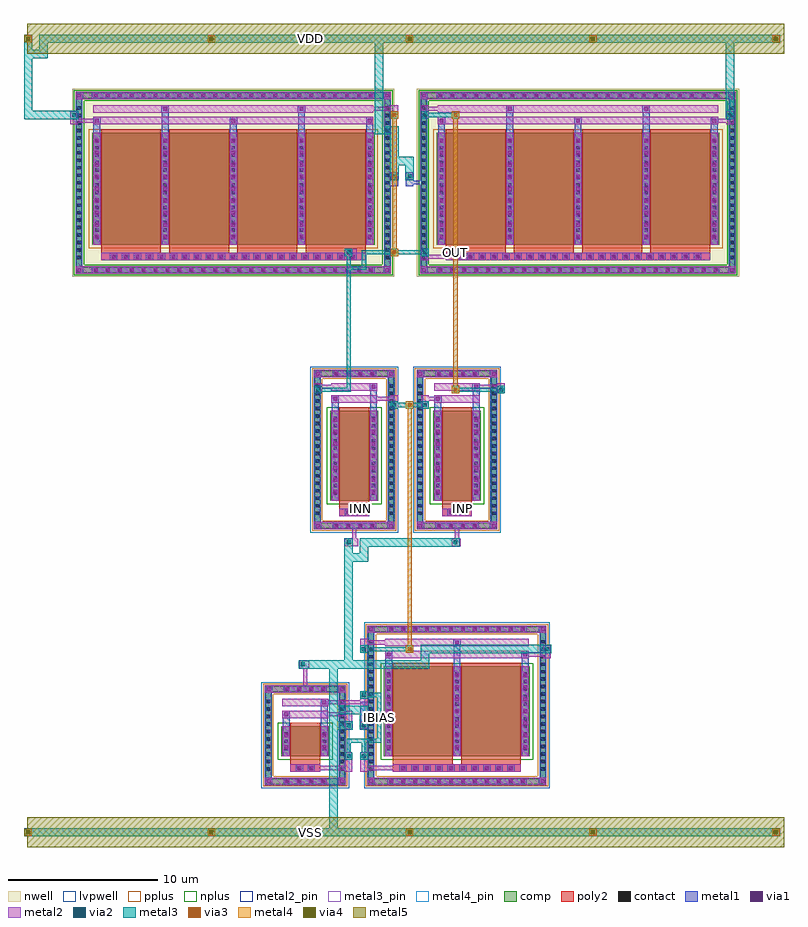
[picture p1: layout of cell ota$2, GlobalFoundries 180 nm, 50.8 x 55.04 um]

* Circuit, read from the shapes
.subckt ota$2 IBIAS INN INP OUT VDD VSS
XM1 IBIAS IBIAS VSS VSS nfet_03v3 w=2u l=2u
XM2 n1 INN n2 VSS nfet_03v3 w=6u l=2u
XM3 n2 IBIAS VSS VSS nfet_03v3 w=6u l=4u m=2
XM4 OUT INP n2 VSS nfet_03v3 w=6u l=2u
XM5 n1 n1 VDD VDD pfet_03v3 w=7.5u l=4u m=4
XM6 OUT n1 VDD VDD pfet_03v3 w=7.5u l=4u m=4
.ends

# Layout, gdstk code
import gdstk
lib = gdstk.Library(unit=1e-6, precision=1e-09)
def R(c, l, rs):  # rectangles x0, y0, x1, y1
    for r in rs: c.add(gdstk.rectangle(r[:2], r[2:], *l))
def A(c, l, x, y, w, h, nx, ny, dx, dy):  # array of equal rectangles
    R(c, l, [(x+i*dx, y+j*dy, x+i*dx+w, y+j*dy+h) for i in range(nx) for j in range(ny)])
def P(c, l, *ps):  # polygons
    for p in ps: c.add(gdstk.Polygon(p, *l))
nwell = (21, 0)
comp = (22, 0)
poly2 = (30, 0)
pplus = (31, 0)
nplus = (32, 0)
contact = (33, 0)
metal1 = (34, 0)
via1 = (35, 0)
metal2 = (36, 0)
metal2_pin = (36, 10)
via2 = (38, 0)
via3 = (40, 0)
via4 = (41, 0)
metal3 = (42, 0)
metal3_pin = (42, 10)
metal4 = (46, 0)
metal4_pin = (46, 10)
metal5 = (81, 0)
lvpwell = (204, 0)

ota_2 = lib.new_cell('ota$2')
R(ota_2, nwell, [(-22.29,34.18,-0.75,46.77), (0.75,34.18,22.29,46.77)])
A(ota_2, comp, -8.09, 0.28, 0.36, 0.36, 4, 2, 0.8, 6.17)
A(ota_2, comp, -1.15, 0.28, 0.36, 0.36, 12, 2, 0.8, 10.17)
A(ota_2, comp, -9.36, 1.115, 0.36, 0.36, 1, 10, 0, 0.5)
A(ota_2, comp, -4.42, 1.115, 0.36, 0.36, 1, 10, 0, 0.5)
A(ota_2, comp, -2.5, 1.115, 0.36, 0.36, 1, 18, 0, 0.5)
A(ota_2, comp, 9, 1.115, 0.36, 0.36, 1, 18, 0, 0.5)
A(ota_2, comp, -4.81, 17.37, 0.36, 0.36, 4, 2, 0.8, 10.17)
A(ota_2, comp, 2.05, 17.37, 0.36, 0.36, 4, 2, 0.8, 10.17)
A(ota_2, comp, -6.08, 18.205, 0.36, 0.36, 1, 18, 0, 0.5)
A(ota_2, comp, -1.14, 18.205, 0.36, 0.36, 1, 18, 0, 0.5)
A(ota_2, comp, 0.78, 18.205, 0.36, 0.36, 1, 18, 0, 0.5)
A(ota_2, comp, 5.72, 18.205, 0.36, 0.36, 1, 18, 0, 0.5)
A(ota_2, comp, -20.9, 34.46, 0.36, 0.36, 24, 2, 0.8, 11.67)
A(ota_2, comp, 2.14, 34.46, 0.36, 0.36, 24, 2, 0.8, 11.67)
A(ota_2, comp, -22.01, 35.295, 0.36, 0.36, 1, 21, 0, 0.5)
A(ota_2, comp, -1.39, 35.295, 0.36, 0.36, 1, 21, 0, 0.5)
A(ota_2, comp, 1.03, 35.295, 0.36, 0.36, 1, 21, 0, 0.5)
A(ota_2, comp, 21.65, 35.295, 0.36, 0.36, 1, 21, 0, 0.5)
R(ota_2, comp, [(-8.09,0.28,-5.33,0.64), (-1.15,0.28,8.01,0.64), (-9.36,1.115,-9,5.975), (-4.42,1.115,-4.06,5.975), (-2.5,1.115,-2.14,9.975), (9,1.115,9.36,9.975), (-8.31,2.14,-5.11,4.14), (-1.45,2.14,8.31,8.14), (-8.09,6.45,-5.33,6.81), (-1.15,10.45,8.01,10.81), (-4.81,17.37,-2.05,17.73), (2.05,17.37,4.81,17.73), (-6.08,18.205,-5.72,27.065), (-1.14,18.205,-0.78,27.065), (0.78,18.205,1.14,27.065), (5.72,18.205,6.08,27.065), (-5.03,19.23,-1.83,25.23), (1.83,19.23,5.03,25.23), (-4.81,27.54,-2.05,27.9), (2.05,27.54,4.81,27.9), (-20.9,34.46,-2.14,34.82), (2.14,34.46,20.9,34.82), (-22.01,35.295,-21.65,45.655), (-1.39,35.295,-1.03,45.655), (1.03,35.295,1.39,45.655), (21.65,35.295,22.01,45.655), (-20.96,36.32,-2.08,43.82), (2.08,36.32,20.96,43.82), (-20.9,46.13,-2.14,46.49), (2.14,46.13,20.9,46.49)])
P(ota_2, comp, [(-9.36,0.28),(-9.36,0.64),(-4.42,0.64),(-4.42,6.45),(-9,6.45),(-9,0.64),(-9.36,0.64),(-9.36,6.81),(-4.06,6.81),(-4.06,0.28)],
  [(1.03,34.46),(1.03,34.82),(21.65,34.82),(21.65,46.13),(1.39,46.13),(1.39,34.82),(1.03,34.82),(1.03,46.49),(22.01,46.49),(22.01,34.46)],
  [(-22.01,34.46),(-22.01,34.82),(-1.39,34.82),(-1.39,46.13),(-21.65,46.13),(-21.65,34.82),(-22.01,34.82),(-22.01,46.49),(-1.03,46.49),(-1.03,34.46)],
  [(0.78,17.37),(0.78,17.73),(5.72,17.73),(5.72,27.54),(1.14,27.54),(1.14,17.73),(0.78,17.73),(0.78,27.9),(6.08,27.9),(6.08,17.37)],
  [(-6.08,17.37),(-6.08,17.73),(-1.14,17.73),(-1.14,27.54),(-5.72,27.54),(-5.72,17.73),(-6.08,17.73),(-6.08,27.9),(-0.78,27.9),(-0.78,17.37)],
  [(-2.5,0.28),(-2.5,0.64),(9,0.64),(9,10.45),(-2.14,10.45),(-2.14,0.64),(-2.5,0.64),(-2.5,10.81),(9.36,10.81),(9.36,0.28)])
A(ota_2, poly2, -0.35, 1.17, 0.36, 0.36, 10, 1, 0.8, 0)
A(ota_2, poly2, -19.7, 35.35, 0.36, 0.36, 21, 1, 0.8, 0)
A(ota_2, poly2, 3.34, 35.35, 0.36, 0.36, 21, 1, 0.8, 0)
A(ota_2, poly2, -20.36, 35.78, 4, 0.3, 4, 1, 4.56, 0)
A(ota_2, poly2, 2.68, 35.78, 4, 0.3, 4, 1, 4.56, 0)
A(ota_2, poly2, -20.36, 36.08, 4, 7.98, 4, 1, 4.56, 0)
A(ota_2, poly2, 2.68, 36.08, 4, 7.98, 4, 1, 4.56, 0)
R(ota_2, poly2, [(-7.71,1.1,-5.71,1.6), (-0.85,1.1,7.71,1.6), (-7.29,1.17,-6.93,1.53), (-6.49,1.17,-6.13,1.53), (-7.71,1.6,-5.71,1.9), (-0.85,1.6,3.15,1.9), (3.71,1.6,7.71,1.9), (-7.71,1.9,-5.71,4.38), (-0.85,1.9,3.15,8.38), (3.71,1.9,7.71,8.38), (-4.43,18.19,-2.43,18.69), (2.43,18.19,4.43,18.69), (-4.01,18.26,-3.65,18.62), (-3.21,18.26,-2.85,18.62), (2.85,18.26,3.21,18.62), (3.65,18.26,4.01,18.62), (-4.43,18.69,-2.43,18.99), (2.43,18.69,4.43,18.99), (-4.43,18.99,-2.43,25.47), (2.43,18.99,4.43,25.47), (-20.36,35.28,-2.68,35.78), (2.68,35.28,20.36,35.78)])
R(ota_2, pplus, [(-21.19,36.09,-1.85,44.05), (1.85,36.09,21.19,44.05)])
P(ota_2, pplus, [(-9.52,0.12),(-9.52,0.8),(-4.58,0.8),(-4.58,6.29),(-8.84,6.29),(-8.84,0.8),(-9.52,0.8),(-9.52,6.97),(-3.9,6.97),(-3.9,0.12)],
  [(0.62,17.21),(0.62,17.89),(5.56,17.89),(5.56,27.38),(1.3,27.38),(1.3,17.89),(0.62,17.89),(0.62,28.06),(6.24,28.06),(6.24,17.21)],
  [(-6.24,17.21),(-6.24,17.89),(-1.3,17.89),(-1.3,27.38),(-5.56,27.38),(-5.56,17.89),(-6.24,17.89),(-6.24,28.06),(-0.62,28.06),(-0.62,17.21)],
  [(-2.66,0.12),(-2.66,0.8),(8.84,0.8),(8.84,10.29),(-1.98,10.29),(-1.98,0.8),(-2.66,0.8),(-2.66,10.97),(9.52,10.97),(9.52,0.12)])
R(ota_2, nplus, [(-8.54,1.91,-4.88,4.37), (-1.68,1.91,8.54,8.37), (-5.26,19,-1.6,25.46), (1.6,19,5.26,25.46)])
P(ota_2, nplus, [(0.87,34.3),(0.87,34.98),(21.49,34.98),(21.49,45.97),(1.55,45.97),(1.55,34.98),(0.87,34.98),(0.87,46.65),(22.17,46.65),(22.17,34.3)],
  [(-22.17,34.3),(-22.17,34.98),(-1.55,34.98),(-1.55,45.97),(-21.49,45.97),(-21.49,34.98),(-22.17,34.98),(-22.17,46.65),(-0.87,46.65),(-0.87,34.3)])
A(ota_2, contact, -8.02, 0.35, 0.22, 0.22, 4, 2, 0.8, 6.17)
A(ota_2, contact, -1.08, 0.35, 0.22, 0.22, 12, 2, 0.8, 10.17)
A(ota_2, contact, -9.29, 1.185, 0.22, 0.22, 1, 10, 0, 0.5)
A(ota_2, contact, -4.35, 1.185, 0.22, 0.22, 1, 10, 0, 0.5)
A(ota_2, contact, -2.43, 1.185, 0.22, 0.22, 1, 18, 0, 0.5)
A(ota_2, contact, 9.07, 1.185, 0.22, 0.22, 1, 18, 0, 0.5)
A(ota_2, contact, -0.28, 1.24, 0.22, 0.22, 10, 1, 0.8, 0)
A(ota_2, contact, -8.1, 2.53, 0.22, 0.22, 1, 3, 0, 0.5)
A(ota_2, contact, -5.54, 2.53, 0.22, 0.22, 1, 3, 0, 0.5)
A(ota_2, contact, -1.24, 2.53, 0.22, 0.22, 3, 11, 4.56, 0.5)
A(ota_2, contact, -4.74, 17.44, 0.22, 0.22, 4, 2, 0.8, 10.17)
A(ota_2, contact, 2.12, 17.44, 0.22, 0.22, 4, 2, 0.8, 10.17)
A(ota_2, contact, -6.01, 18.275, 0.22, 0.22, 1, 18, 0, 0.5)
A(ota_2, contact, -1.07, 18.275, 0.22, 0.22, 1, 18, 0, 0.5)
A(ota_2, contact, 0.85, 18.275, 0.22, 0.22, 1, 18, 0, 0.5)
A(ota_2, contact, 5.79, 18.275, 0.22, 0.22, 1, 18, 0, 0.5)
A(ota_2, contact, -4.82, 19.62, 0.22, 0.22, 1, 11, 0, 0.5)
A(ota_2, contact, -2.26, 19.62, 0.22, 0.22, 1, 11, 0, 0.5)
A(ota_2, contact, 2.04, 19.62, 0.22, 0.22, 1, 11, 0, 0.5)
A(ota_2, contact, 4.6, 19.62, 0.22, 0.22, 1, 11, 0, 0.5)
A(ota_2, contact, -20.83, 34.53, 0.22, 0.22, 24, 2, 0.8, 11.67)
A(ota_2, contact, 2.21, 34.53, 0.22, 0.22, 24, 2, 0.8, 11.67)
A(ota_2, contact, -21.94, 35.365, 0.22, 0.22, 1, 21, 0, 0.5)
A(ota_2, contact, -1.32, 35.365, 0.22, 0.22, 1, 21, 0, 0.5)
A(ota_2, contact, 1.1, 35.365, 0.22, 0.22, 1, 21, 0, 0.5)
A(ota_2, contact, 21.72, 35.365, 0.22, 0.22, 1, 21, 0, 0.5)
A(ota_2, contact, -19.63, 35.42, 0.22, 0.22, 21, 1, 0.8, 0)
A(ota_2, contact, 3.41, 35.42, 0.22, 0.22, 21, 1, 0.8, 0)
A(ota_2, contact, -20.75, 36.71, 0.22, 0.22, 5, 14, 4.56, 0.5)
A(ota_2, contact, 2.29, 36.71, 0.22, 0.22, 5, 14, 4.56, 0.5)
R(ota_2, contact, [(-7.22,1.24,-7,1.46), (-6.42,1.24,-6.2,1.46), (-3.94,18.33,-3.72,18.55), (-3.14,18.33,-2.92,18.55), (2.92,18.33,3.14,18.55), (3.72,18.33,3.94,18.55)])
A(ota_2, metal1, -8.16, 0.21, 0.5, 0.5, 4, 2, 0.8, 6.17)
A(ota_2, metal1, -1.22, 0.21, 0.5, 0.5, 12, 2, 0.8, 10.17)
A(ota_2, metal1, -9.41, 1.065, 0.46, 0.46, 1, 10, 0, 0.5)
A(ota_2, metal1, -4.47, 1.065, 0.46, 0.46, 1, 10, 0, 0.5)
A(ota_2, metal1, -2.55, 1.065, 0.46, 0.46, 1, 18, 0, 0.5)
A(ota_2, metal1, 8.95, 1.065, 0.46, 0.46, 1, 18, 0, 0.5)
A(ota_2, metal1, -0.42, 1.1, 0.5, 0.5, 10, 1, 0.8, 0)
A(ota_2, metal1, -1.36, 2.14, 0.46, 6, 3, 1, 4.56, 0)
A(ota_2, metal1, -8.22, 2.41, 0.46, 0.46, 1, 3, 0, 0.5)
A(ota_2, metal1, -5.66, 2.41, 0.46, 0.46, 1, 3, 0, 0.5)
A(ota_2, metal1, -1.36, 2.41, 0.46, 0.46, 3, 11, 4.56, 0.5)
A(ota_2, metal1, -1.38, 2.49, 0.5, 5.3, 3, 1, 4.56, 0)
A(ota_2, metal1, -1.38, 2.49, 0.5, 0.5, 3, 7, 4.56, 0.8)
A(ota_2, metal1, -4.88, 17.3, 0.5, 0.5, 4, 2, 0.8, 10.17)
A(ota_2, metal1, 1.98, 17.3, 0.5, 0.5, 4, 2, 0.8, 10.17)
A(ota_2, metal1, -6.13, 18.155, 0.46, 0.46, 1, 18, 0, 0.5)
A(ota_2, metal1, -1.19, 18.155, 0.46, 0.46, 1, 18, 0, 0.5)
A(ota_2, metal1, 0.73, 18.155, 0.46, 0.46, 1, 18, 0, 0.5)
A(ota_2, metal1, 5.67, 18.155, 0.46, 0.46, 1, 18, 0, 0.5)
A(ota_2, metal1, -4.94, 19.5, 0.46, 0.46, 1, 11, 0, 0.5)
A(ota_2, metal1, -2.38, 19.5, 0.46, 0.46, 1, 11, 0, 0.5)
A(ota_2, metal1, 1.92, 19.5, 0.46, 0.46, 1, 11, 0, 0.5)
A(ota_2, metal1, 4.48, 19.5, 0.46, 0.46, 1, 11, 0, 0.5)
A(ota_2, metal1, -4.96, 19.58, 0.5, 0.5, 1, 7, 0, 0.8)
A(ota_2, metal1, -2.4, 19.58, 0.5, 0.5, 1, 7, 0, 0.8)
A(ota_2, metal1, 1.9, 19.58, 0.5, 0.5, 1, 7, 0, 0.8)
A(ota_2, metal1, 4.46, 19.58, 0.5, 0.5, 1, 7, 0, 0.8)
A(ota_2, metal1, -20.97, 34.39, 0.5, 0.5, 24, 2, 0.8, 11.67)
A(ota_2, metal1, 2.07, 34.39, 0.5, 0.5, 24, 2, 0.8, 11.67)
A(ota_2, metal1, -22.06, 35.245, 0.46, 0.46, 1, 21, 0, 0.5)
A(ota_2, metal1, -1.44, 35.245, 0.46, 0.46, 1, 21, 0, 0.5)
A(ota_2, metal1, 0.98, 35.245, 0.46, 0.46, 1, 21, 0, 0.5)
A(ota_2, metal1, 21.6, 35.245, 0.46, 0.46, 1, 21, 0, 0.5)
A(ota_2, metal1, -19.77, 35.28, 0.5, 0.5, 21, 1, 0.8, 0)
A(ota_2, metal1, 3.27, 35.28, 0.5, 0.5, 21, 1, 0.8, 0)
A(ota_2, metal1, -20.87, 36.32, 0.46, 7.5, 5, 1, 4.56, 0)
A(ota_2, metal1, 2.17, 36.32, 0.46, 7.5, 5, 1, 4.56, 0)
A(ota_2, metal1, -20.87, 36.59, 0.46, 0.46, 5, 14, 4.56, 0.5)
A(ota_2, metal1, 2.17, 36.59, 0.46, 0.46, 5, 14, 4.56, 0.5)
A(ota_2, metal1, -20.89, 36.62, 0.5, 0.5, 5, 9, 4.56, 0.8)
A(ota_2, metal1, -20.89, 36.62, 0.5, 6.9, 5, 1, 4.56, 0)
A(ota_2, metal1, 2.15, 36.62, 0.5, 0.5, 5, 9, 4.56, 0.8)
A(ota_2, metal1, 2.15, 36.62, 0.5, 6.9, 5, 1, 4.56, 0)
A(ota_2, metal1, -20.87, 43.82, 0.46, 1.05, 3, 1, 9.12, 0)
A(ota_2, metal1, 2.17, 43.82, 0.46, 1.05, 3, 1, 9.12, 0)
A(ota_2, metal1, -20.89, 44.37, 0.5, 0.5, 3, 1, 9.12, 0)
A(ota_2, metal1, 2.15, 44.37, 0.5, 0.5, 3, 1, 9.12, 0)
R(ota_2, metal1, [(-9.41,0.21,-8.91,0.71), (-9.41,0.21,-8.91,0.71), (-9.41,0.21,-8.95,0.64), (-8.16,0.21,-5.26,0.71), (-4.51,0.21,-4.01,0.71), (-4.51,0.21,-4.01,0.71), (-4.47,0.21,-4.01,0.64), (-2.55,0.21,-2.05,0.71), (-2.55,0.21,-2.05,0.71), (-2.55,0.21,-2.09,0.64), (-1.22,0.21,8.08,0.71), (8.91,0.21,9.41,0.71), (8.91,0.21,9.41,0.71), (8.95,0.21,9.41,0.64), (-9.41,0.64,-8.95,6.45), (-4.47,0.64,-4.01,6.45), (-2.55,0.64,-2.09,10.45), (8.95,0.64,9.41,10.45), (-7.36,1.1,-6.86,1.6), (-6.56,1.1,-6.06,1.6), (-8.22,2.14,-7.76,4.14), (-5.66,2.14,-5.2,4.14), (-8.24,2.49,-7.74,2.99), (-8.24,2.49,-7.74,3.79), (-5.68,2.49,-5.18,2.99), (-5.68,2.49,-5.18,3.79), (-8.24,3.29,-7.74,3.79), (-5.68,3.29,-5.18,3.79), (-3.04,3.95,-2.54,4.45), (-3.04,3.95,-2.54,5.79), (-8.22,4.14,-7.76,5.19), (-5.66,4.14,-5.2,5.99), (-8.24,4.69,-7.74,5.19), (-2.905,5.425,-2.435,5.655), (-5.68,5.49,-5.18,5.99), (-2.55,5.79,-2.54,6.065), (-9.41,6.38,-8.91,6.88), (-9.41,6.38,-8.91,6.88), (-8.16,6.38,-5.26,6.88), (-4.51,6.38,-4.01,6.88), (-4.51,6.38,-4.01,6.88), (-9.41,6.45,-8.95,6.88), (-4.47,6.45,-4.01,6.88), (-1.36,8.14,-0.9,9.19), (3.2,8.14,3.66,9.99), (7.76,8.14,8.22,9.19), (-1.38,8.69,-0.88,9.19), (7.74,8.69,8.24,9.19), (3.18,9.49,3.68,9.99), (-2.55,10.38,-2.05,10.88), (-2.55,10.38,-2.05,10.88), (-1.22,10.38,8.08,10.88), (8.91,10.38,9.41,10.88), (8.91,10.38,9.41,10.88), (-2.55,10.45,-2.09,10.88), (8.95,10.45,9.41,10.88), (-6.13,17.3,-5.63,17.8), (-6.13,17.3,-5.63,17.8), (-6.13,17.3,-5.67,17.73), (-4.88,17.3,-1.98,17.8), (-1.23,17.3,-0.73,17.8), (-1.23,17.3,-0.73,17.8), (-1.19,17.3,-0.73,17.73), (0.73,17.3,1.23,17.8), (0.73,17.3,1.23,17.8), (0.73,17.3,1.19,17.73), (1.98,17.3,4.88,17.8), (5.63,17.3,6.13,17.8), (5.63,17.3,6.13,17.8), (5.67,17.3,6.13,17.73), (-6.13,17.73,-5.67,27.54), (-1.19,17.73,-0.73,27.54), (0.73,17.73,1.19,27.54), (5.67,17.73,6.13,27.54), (-4.08,18.19,-3.58,18.69), (-3.28,18.19,-2.78,18.69), (2.78,18.19,3.28,18.69), (3.58,18.19,4.08,18.69), (-4.94,19.23,-4.48,25.23), (-2.38,19.23,-1.92,25.23), (1.92,19.23,2.38,25.23), (4.48,19.23,4.94,25.23), (-4.96,19.58,-4.46,24.88), (-2.4,19.58,-1.9,24.88), (1.9,19.58,2.4,24.88), (4.46,19.58,4.96,24.88), (-4.94,25.23,-4.48,26.28), (-2.38,25.23,-1.92,27.08), (1.92,25.23,2.38,26.28), (4.48,25.23,4.94,27.08), (-4.96,25.78,-4.46,26.28), (1.9,25.78,2.4,26.28), (-2.4,26.58,-1.9,27.08), (4.46,26.58,4.96,27.08), (-6.13,27.47,-5.63,27.97), (-6.13,27.47,-5.63,27.97), (-4.88,27.47,-1.98,27.97), (-1.23,27.47,-0.73,27.97), (-1.23,27.47,-0.73,27.97), (0.73,27.47,1.23,27.97), (0.73,27.47,1.23,27.97), (1.98,27.47,4.88,27.97), (5.63,27.47,6.13,27.97), (5.63,27.47,6.13,27.97), (-6.13,27.54,-5.67,27.97), (-1.19,27.54,-0.73,27.97), (0.73,27.54,1.19,27.97), (5.67,27.54,6.13,27.97), (-22.06,34.39,-21.56,34.89), (-22.06,34.39,-21.56,34.89), (-22.06,34.39,-21.6,34.82), (-20.97,34.39,-2.07,34.89), (-1.48,34.39,-0.98,34.89), (-1.48,34.39,-0.98,34.89), (-1.44,34.39,-0.98,34.82), (0.98,34.39,1.48,34.89), (0.98,34.39,1.48,34.89), (0.98,34.39,1.44,34.82), (2.07,34.39,20.97,34.89), (21.56,34.39,22.06,34.89), (21.56,34.39,22.06,34.89), (21.6,34.39,22.06,34.82), (-22.06,34.82,-21.6,46.13), (-1.44,34.82,-0.98,46.13), (0.98,34.82,1.44,46.13), (21.6,34.82,22.06,46.13), (-1.095,40.205,-0.98,40.365), (-1,40.205,-0.98,40.23), (0.98,40.205,1.095,40.365), (-1,40.23,-0.5,41.17), (0.02,40.23,0.52,41.17), (-1.095,40.365,-0.635,40.595), (0.155,40.365,1.095,40.595), (-1.095,40.595,-0.98,40.745), (0.98,40.595,1.095,40.745), (-1,40.67,-0.5,41.17), (0.02,40.67,0.52,41.17), (-1,41.17,-0.98,41.245), (-16.31,43.82,-15.85,45.67), (-7.19,43.82,-6.73,45.67), (6.73,43.82,7.19,45.67), (15.85,43.82,16.31,45.67), (-16.33,45.17,-15.83,45.67), (-7.21,45.17,-6.71,45.67), (6.71,45.17,7.21,45.67), (15.83,45.17,16.33,45.67), (-22.06,46.06,-21.56,46.56), (-22.06,46.06,-21.56,46.56), (-20.97,46.06,-2.07,46.56), (-1.48,46.06,-0.98,46.56), (-1.48,46.06,-0.98,46.56), (0.98,46.06,1.48,46.56), (0.98,46.06,1.48,46.56), (2.07,46.06,20.97,46.56), (21.56,46.06,22.06,46.56), (21.56,46.06,22.06,46.56), (-22.06,46.13,-21.6,46.56), (-1.44,46.13,-0.98,46.56), (0.98,46.13,1.44,46.56), (21.6,46.13,22.06,46.56)])
A(ota_2, via1, -8.04, 0.33, 0.26, 0.26, 4, 2, 0.8, 6.17)
A(ota_2, via1, -1.1, 0.33, 0.26, 0.26, 12, 2, 0.8, 10.17)
A(ota_2, via1, -0.3, 1.22, 0.26, 0.26, 10, 1, 0.8, 0)
A(ota_2, via1, -1.26, 2.61, 0.26, 0.26, 3, 7, 4.56, 0.8)
A(ota_2, via1, -4.76, 17.42, 0.26, 0.26, 4, 2, 0.8, 10.17)
A(ota_2, via1, 2.1, 17.42, 0.26, 0.26, 4, 2, 0.8, 10.17)
A(ota_2, via1, -4.84, 19.7, 0.26, 0.26, 1, 7, 0, 0.8)
A(ota_2, via1, -2.28, 19.7, 0.26, 0.26, 1, 7, 0, 0.8)
A(ota_2, via1, 2.02, 19.7, 0.26, 0.26, 1, 7, 0, 0.8)
A(ota_2, via1, 4.58, 19.7, 0.26, 0.26, 1, 7, 0, 0.8)
A(ota_2, via1, -20.85, 34.51, 0.26, 0.26, 24, 2, 0.8, 11.67)
A(ota_2, via1, 2.19, 34.51, 0.26, 0.26, 24, 2, 0.8, 11.67)
A(ota_2, via1, -19.65, 35.4, 0.26, 0.26, 21, 1, 0.8, 0)
A(ota_2, via1, 3.39, 35.4, 0.26, 0.26, 21, 1, 0.8, 0)
A(ota_2, via1, -20.77, 36.74, 0.26, 0.26, 5, 9, 4.56, 0.8)
A(ota_2, via1, 2.27, 36.74, 0.26, 0.26, 5, 9, 4.56, 0.8)
A(ota_2, via1, -20.77, 44.49, 0.26, 0.26, 3, 1, 9.12, 0)
A(ota_2, via1, 2.27, 44.49, 0.26, 0.26, 3, 1, 9.12, 0)
R(ota_2, via1, [(-9.29,0.33,-9.03,0.59), (-4.39,0.33,-4.13,0.59), (-2.43,0.33,-2.17,0.59), (9.03,0.33,9.29,0.59), (-7.24,1.22,-6.98,1.48), (-6.44,1.22,-6.18,1.48), (-8.12,2.61,-7.86,2.87), (-5.56,2.61,-5.3,2.87), (-8.12,3.41,-7.86,3.67), (-5.56,3.41,-5.3,3.67), (-2.92,4.07,-2.66,4.33), (-8.12,4.81,-7.86,5.07), (-5.56,5.61,-5.3,5.87), (-9.29,6.5,-9.03,6.76), (-4.39,6.5,-4.13,6.76), (-1.26,8.81,-1,9.07), (7.86,8.81,8.12,9.07), (3.3,9.61,3.56,9.87), (-2.43,10.5,-2.17,10.76), (9.03,10.5,9.29,10.76), (-6.01,17.42,-5.75,17.68), (-1.11,17.42,-0.85,17.68), (0.85,17.42,1.11,17.68), (5.75,17.42,6.01,17.68), (-3.96,18.31,-3.7,18.57), (-3.16,18.31,-2.9,18.57), (2.9,18.31,3.16,18.57), (3.7,18.31,3.96,18.57), (-4.84,25.9,-4.58,26.16), (2.02,25.9,2.28,26.16), (-2.28,26.7,-2.02,26.96), (4.58,26.7,4.84,26.96), (-6.01,27.59,-5.75,27.85), (-1.11,27.59,-0.85,27.85), (0.85,27.59,1.11,27.85), (5.75,27.59,6.01,27.85), (-21.94,34.51,-21.68,34.77), (-1.36,34.51,-1.1,34.77), (1.1,34.51,1.36,34.77), (21.68,34.51,21.94,34.77), (-0.88,40.79,-0.62,41.05), (0.14,40.79,0.4,41.05), (-16.21,45.29,-15.95,45.55), (-7.09,45.29,-6.83,45.55), (6.83,45.29,7.09,45.55), (15.95,45.29,16.21,45.55), (-21.94,46.18,-21.68,46.44), (-1.36,46.18,-1.1,46.44), (1.1,46.18,1.36,46.44), (21.68,46.18,21.94,46.44)])
A(ota_2, metal2, -8.16, 0.21, 0.5, 0.5, 4, 2, 0.8, 6.17)
A(ota_2, metal2, -1.22, 0.21, 0.5, 0.5, 12, 2, 0.8, 10.17)
A(ota_2, metal2, -0.42, 1.1, 0.5, 0.5, 10, 1, 0.8, 0)
A(ota_2, metal2, -3.04, 1.91, 0.5, 0.5, 1, 3, 0, 2.04)
A(ota_2, metal2, -1.38, 2.14, 0.5, 6, 3, 1, 4.56, 0)
A(ota_2, metal2, -1.38, 2.49, 0.5, 0.5, 3, 7, 4.56, 0.8)
A(ota_2, metal2, -4.88, 17.3, 0.5, 0.5, 4, 2, 0.8, 10.17)
A(ota_2, metal2, 1.98, 17.3, 0.5, 0.5, 4, 2, 0.8, 10.17)
A(ota_2, metal2, -4.96, 19.58, 0.5, 0.5, 1, 7, 0, 0.8)
A(ota_2, metal2, -2.4, 19.58, 0.5, 0.5, 1, 7, 0, 0.8)
A(ota_2, metal2, 1.9, 19.58, 0.5, 0.5, 1, 7, 0, 0.8)
A(ota_2, metal2, 4.46, 19.58, 0.5, 0.5, 1, 7, 0, 0.8)
A(ota_2, metal2, -20.97, 34.39, 0.5, 0.5, 24, 2, 0.8, 11.67)
A(ota_2, metal2, 2.07, 34.39, 0.5, 0.5, 24, 2, 0.8, 11.67)
A(ota_2, metal2, -19.77, 35.28, 0.5, 0.5, 21, 1, 0.8, 0)
A(ota_2, metal2, 3.27, 35.28, 0.5, 0.5, 21, 1, 0.8, 0)
A(ota_2, metal2, -20.89, 36.32, 0.5, 7.5, 5, 1, 4.56, 0)
A(ota_2, metal2, 2.15, 36.32, 0.5, 7.5, 5, 1, 4.56, 0)
A(ota_2, metal2, -20.89, 36.62, 0.5, 0.5, 5, 9, 4.56, 0.8)
A(ota_2, metal2, 2.15, 36.62, 0.5, 0.5, 5, 9, 4.56, 0.8)
A(ota_2, metal2, -20.89, 44.37, 0.5, 0.5, 3, 1, 9.12, 0)
A(ota_2, metal2, 2.15, 44.37, 0.5, 0.5, 3, 1, 9.12, 0)
R(ota_2, metal2, [(-9.41,0.21,-8.91,0.71), (-9.41,0.21,-8.91,0.71), (-9.41,0.21,-9,0.71), (-9,0.21,-4.42,0.71), (-4.51,0.21,-4.01,0.71), (-4.51,0.21,-4.01,0.71), (-4.42,0.21,-4.01,0.71), (-2.55,0.21,-2.05,0.71), (-2.55,0.21,-2.05,0.71), (-2.55,0.21,-2.14,0.71), (-2.14,0.21,9,0.71), (8.91,0.21,9.41,0.71), (8.91,0.21,9.41,0.71), (9,0.21,9.41,0.71), (-7.71,1.1,-5.71,1.6), (-7.36,1.1,-6.86,1.6), (-6.56,1.1,-6.06,1.6), (-4.06,1.1,-3.56,2.41), (-3.04,1.1,-2.54,2.41), (-0.85,1.1,7.71,1.6), (-6.06,1.21,-5.85,1.49), (-5.85,1.21,-3.67,1.49), (-2.93,1.21,-0.71,1.49), (-0.71,1.21,-0.42,1.49), (-4.06,1.91,-3.56,2.41), (-8.24,2.14,-7.74,4.14), (-5.68,2.14,-5.18,4.14), (-8.24,2.49,-7.74,2.99), (-5.68,2.49,-5.18,2.99), (-8.24,3.29,-7.74,3.79), (-5.68,3.29,-5.18,3.79), (-4.06,3.95,-3.56,4.45), (-4.06,3.95,-3.56,5.19), (-8.24,4.69,-7.74,5.19), (-8.24,4.69,-5.18,5.19), (-5.32,4.8,-3.67,5.08), (-8.24,5.49,-5.18,5.99), (-5.68,5.49,-5.18,5.99), (-3.04,5.49,-2.54,6.49), (-5.32,5.6,-2.65,5.88), (-9.41,6.38,-8.91,6.88), (-9.41,6.38,-8.91,6.88), (-9.41,6.38,-9,6.88), (-9,6.38,-4.42,6.88), (-4.51,6.38,-4.01,6.88), (-4.51,6.38,-4.01,6.88), (-4.42,6.38,-4.01,6.88), (-6.86,6.74,-6.85,6.88), (-6.85,6.74,-6.57,8.42), (-6.57,6.74,-6.56,6.88), (-7.12,8.03,-6.62,8.53), (-7.12,8.03,-6.46,8.53), (-1.38,8.69,8.24,9.19), (-1.38,8.69,-0.88,9.19), (7.74,8.69,8.24,9.19), (9.2,8.69,9.7,9.55), (8.1,8.8,9.59,9.08), (-3.04,9.05,-2.54,9.55), (-3.04,9.05,-2.54,9.99), (9.2,9.05,9.7,9.55), (-1.38,9.49,8.24,9.99), (3.18,9.49,3.68,9.99), (-2.93,9.6,-1.24,9.88), (-2.55,10.38,-2.05,10.88), (-2.55,10.38,-2.05,10.88), (-2.55,10.38,-2.14,10.88), (-2.14,10.38,9,10.88), (8.91,10.38,9.41,10.88), (8.91,10.38,9.41,10.88), (9,10.38,9.41,10.88), (-4.06,16.19,-3.56,16.69), (-4.06,16.19,-3.18,16.69), (3.08,16.19,3.58,16.69), (3.08,16.19,3.68,16.69), (-3.57,16.3,-3.29,17.44), (3.29,16.3,3.57,17.44), (-6.13,17.3,-5.63,17.8), (-6.13,17.3,-5.63,17.8), (-6.13,17.3,-5.72,17.8), (-5.72,17.3,-1.14,17.8), (-3.58,17.3,-3.57,17.44), (-3.29,17.3,-3.28,17.44), (-1.23,17.3,-0.73,17.8), (-1.23,17.3,-0.73,17.8), (-1.14,17.3,-0.73,17.8), (0.73,17.3,1.23,17.8), (0.73,17.3,1.23,17.8), (0.73,17.3,1.14,17.8), (1.14,17.3,5.72,17.8), (3.28,17.3,3.29,17.44), (3.57,17.3,3.58,17.44), (5.63,17.3,6.13,17.8), (5.63,17.3,6.13,17.8), (5.72,17.3,6.13,17.8), (-4.43,18.19,-2.43,18.69), (-4.08,18.19,-3.58,18.69), (-3.28,18.19,-2.78,18.69), (2.43,18.19,4.43,18.69), (2.78,18.19,3.28,18.69), (3.58,18.19,4.08,18.69), (-4.96,19.23,-4.46,25.23), (-2.4,19.23,-1.9,25.23), (1.9,19.23,2.4,25.23), (4.46,19.23,4.96,25.23), (-1,25.37,-0.5,25.87), (-1,25.37,-0.5,26.28), (1.04,25.37,1.54,25.87), (1.04,25.37,1.54,26.28), (-4.96,25.78,-4.46,26.28), (-4.96,25.78,-1.9,26.28), (1.9,25.78,2.4,26.28), (1.9,25.78,4.96,26.28), (-2.04,25.89,-0.61,26.17), (1.15,25.89,2.04,26.17), (-6.1,26.39,-5.6,26.89), (-6.1,26.39,-5.6,27.08), (6.14,26.39,6.64,26.89), (6.14,26.39,6.64,27.08), (-4.96,26.58,-1.9,27.08), (-2.4,26.58,-1.9,27.08), (1.9,26.58,4.96,27.08), (4.46,26.58,4.96,27.08), (-5.99,26.69,-4.82,26.97), (4.82,26.69,6.53,26.97), (-6.13,27.47,-5.63,27.97), (-6.13,27.47,-5.63,27.97), (-6.13,27.47,-5.72,27.97), (-5.72,27.47,-1.14,27.97), (-1.23,27.47,-0.73,27.97), (-1.23,27.47,-0.73,27.97), (-1.14,27.47,-0.73,27.97), (0.73,27.47,1.23,27.97), (0.73,27.47,1.23,27.97), (0.73,27.47,1.14,27.97), (1.14,27.47,5.72,27.97), (5.63,27.47,6.13,27.97), (5.63,27.47,6.13,27.97), (5.72,27.47,6.13,27.97), (-22.06,34.39,-21.56,34.89), (-22.06,34.39,-21.56,34.89), (-22.06,34.39,-21.65,34.89), (-21.65,34.39,-1.39,34.89), (-1.48,34.39,-0.98,34.89), (-1.48,34.39,-0.98,34.89), (-1.39,34.39,-0.98,34.89), (0.98,34.39,1.48,34.89), (0.98,34.39,1.48,34.89), (0.98,34.39,1.39,34.89), (1.39,34.39,21.65,34.89), (21.56,34.39,22.06,34.89), (21.56,34.39,22.06,34.89), (21.65,34.39,22.06,34.89), (-20.36,35.28,-2.68,35.78), (1.04,35.28,1.54,36.07), (2.68,35.28,20.36,35.78), (1.15,35.39,2.82,35.67), (-4.07,35.57,-4.06,35.78), (-4.06,35.57,-3.56,36.07), (-4.06,35.57,-3.27,36.07), (1.04,35.57,1.54,36.07), (-3.66,35.64,-3.38,35.96), (-1,40.67,-0.5,41.17), (0.02,40.67,0.52,41.17), (-22.42,44.37,-21.92,45.25), (-20.89,44.37,-2.15,44.87), (2.15,44.37,20.89,44.87), (21.44,44.37,21.94,45.25), (-22.31,44.48,-20.75,44.76), (20.75,44.48,21.83,44.76), (-22.42,44.75,-21.92,45.25), (-1,44.75,-0.5,45.25), (-1,44.75,-0.5,45.67), (1.04,44.75,1.54,45.25), (1.04,44.75,1.54,45.67), (21.44,44.75,21.94,45.25), (-20.89,45.17,-2.15,45.67), (-16.33,45.17,-15.83,45.67), (-7.21,45.17,-6.71,45.67), (2.15,45.17,20.89,45.67), (6.71,45.17,7.21,45.67), (15.83,45.17,16.33,45.67), (-2.29,45.28,-0.61,45.56), (1.15,45.28,2.29,45.56), (-22.06,46.06,-21.56,46.56), (-22.06,46.06,-21.56,46.56), (-22.06,46.06,-21.65,46.56), (-21.65,46.06,-1.39,46.56), (-1.48,46.06,-0.98,46.56), (-1.48,46.06,-0.98,46.56), (-1.39,46.06,-0.98,46.56), (0.98,46.06,1.48,46.56), (0.98,46.06,1.48,46.56), (0.98,46.06,1.39,46.56), (1.39,46.06,21.65,46.56), (21.56,46.06,22.06,46.56), (21.56,46.06,22.06,46.56), (21.65,46.06,22.06,46.56)])
R(ota_2, metal2_pin, [(-3.17,18.55,-2.89,18.83), (3.69,18.55,3.97,18.83)])
A(ota_2, via2, -2.92, 2.03, 0.26, 0.26, 1, 3, 0, 2.04)
R(ota_2, via2, [(-3.94,2.03,-3.68,2.29), (-3.94,4.07,-3.68,4.33), (-7,8.15,-6.74,8.41), (-2.92,9.17,-2.66,9.43), (9.32,9.17,9.58,9.43), (-3.94,16.31,-3.68,16.57), (3.2,16.31,3.46,16.57), (-0.88,25.49,-0.62,25.75), (1.16,25.49,1.42,25.75), (-5.98,26.51,-5.72,26.77), (6.26,26.51,6.52,26.77), (-3.94,35.69,-3.68,35.95), (1.16,35.69,1.42,35.95), (-0.88,40.79,-0.62,41.05), (0.14,40.79,0.4,41.05), (-22.3,44.87,-22.04,45.13), (-0.88,44.87,-0.62,45.13), (1.16,44.87,1.42,45.13), (21.56,44.87,21.82,45.13)])
A(ota_2, via3, 0.14, -3.07, 0.26, 0.26, 3, 2, 12.24, 53.04)
R(ota_2, via3, [(-25.36,-3.07,-25.1,-2.81), (-13.12,-3.07,-12.86,-2.81), (0.14,9.17,0.4,9.43), (0.14,25.49,0.4,25.75), (3.2,26.51,3.46,26.77), (-0.88,35.69,-0.62,35.95), (-0.88,44.87,-0.62,45.13), (3.2,44.87,3.46,45.13), (-25.36,49.97,-25.1,50.23), (-13.12,49.97,-12.86,50.23)])
A(ota_2, via4, 0.14, -3.07, 0.26, 0.26, 3, 2, 12.24, 53.04)
R(ota_2, via4, [(-25.36,-3.07,-25.1,-2.81), (-13.12,-3.07,-12.86,-2.81), (-25.36,49.97,-25.1,50.23), (-13.12,49.97,-12.86,50.23)])
A(ota_2, metal3, 0.02, -3.19, 0.5, 0.5, 3, 2, 12.24, 53.04)
A(ota_2, metal3, -3.04, 1.91, 0.5, 0.5, 1, 3, 0, 2.04)
A(ota_2, metal3, -1, 25.37, 0.5, 0.5, 3, 1, 1.02, 0)
A(ota_2, metal3, -1, 44.75, 0.5, 0.5, 3, 1, 2.04, 0)
R(ota_2, metal3, [(-25.51,-3.22,-12.71,-2.66), (-13.27,-3.22,0.55,-2.66), (-5.11,-3.22,-4.55,4.48), (-0.01,-3.22,12.79,-2.66), (12.23,-3.22,25.03,-2.66), (-25.48,-3.19,-24.98,-2.69), (-13.24,-3.19,-12.74,-2.69), (-4.06,1.91,-3.56,2.41), (-3.95,2.02,-3.67,3.32), (-2.93,2.02,-2.65,3.32), (-3.95,3.04,-2.65,3.32), (-2.93,3.04,-1.63,3.32), (-1.91,3.04,-1.63,6.38), (-5.11,3.92,-3.53,4.48), (-5.11,3.92,-4.55,8.56), (-3.07,3.92,-2.51,5.5), (-4.06,3.95,-3.56,4.45), (-5.11,4.94,-2.51,5.5), (-2.93,6.1,-1.63,6.38), (-7.15,8,-4.55,8.56), (-5.11,8,-3.53,8.56), (-4.09,8,-3.53,16.72), (-4.09,8,1.57,8.56), (1.01,8,1.57,9.58), (-7.12,8.03,-6.62,8.53), (1.01,9.02,9.73,9.58), (-3.04,9.05,-2.54,9.55), (0.02,9.05,0.52,9.55), (9.2,9.05,9.7,9.55), (-2.93,9.16,0.41,9.44), (-4.09,15.14,-2.51,15.7), (-3.07,15.14,-2.51,16.72), (-3.07,16.16,3.61,16.72), (-4.06,16.19,-3.56,16.69), (3.08,16.19,3.58,16.69), (-0.89,25.48,1.43,25.76), (-6.1,26.39,-5.6,26.89), (3.08,26.39,3.58,26.89), (6.14,26.39,6.64,26.89), (-5.99,26.5,-3.67,26.78), (-3.95,26.5,-3.67,35.96), (3.19,26.5,6.53,26.78), (-3.95,34.66,-2.65,34.94), (-2.93,34.66,-2.65,35.96), (-4.06,35.57,-3.56,36.07), (-1,35.57,-0.5,36.07), (1.04,35.57,1.54,36.07), (-2.93,35.68,1.43,35.96), (-1.03,40.64,-0.47,44.26), (-0.01,40.64,0.55,42.22), (-1,40.67,-0.5,41.17), (0.02,40.67,0.52,41.17), (-1.03,41.66,0.55,42.22), (-2.05,43.7,-0.47,44.26), (-2.05,43.7,-1.49,50.38), (-25.51,44.72,-21.89,45.28), (-25.51,44.72,-24.95,50.38), (21.41,44.72,21.97,50.38), (-22.42,44.75,-21.92,45.25), (-1,44.75,-0.5,45.25), (21.44,44.75,21.94,45.25), (1.15,44.86,3.47,45.14), (-25.51,48.8,-23.93,49.36), (-24.49,48.8,-23.93,50.38), (-24.49,49.82,-12.71,50.38), (-13.27,49.82,0.55,50.38), (-0.01,49.82,12.79,50.38), (12.23,49.82,25.03,50.38), (-25.48,49.85,-24.98,50.35), (-13.24,49.85,-12.74,50.35)])
R(ota_2, metal3_pin, [(-6.64,-3.22,-6.08,-2.66), (-1.91,4.57,-1.63,4.85), (-6.64,49.82,-6.08,50.38)])
A(ota_2, metal4, 0.02, -3.19, 0.5, 0.5, 3, 2, 12.24, 53.04)
R(ota_2, metal4, [(-25.48,-3.19,-24.98,-2.69), (-13.24,-3.19,-12.74,-2.69), (0.02,9.05,0.52,9.55), (0.13,9.16,0.41,25.76), (0.02,25.37,0.52,25.87), (3.08,26.39,3.58,26.89), (3.19,26.5,3.47,45.14), (-1,35.57,-0.5,36.07), (-0.89,35.68,-0.61,45.14), (-1,44.75,-0.5,45.25), (3.08,44.75,3.58,45.25), (-25.48,49.85,-24.98,50.35), (-13.24,49.85,-12.74,50.35)])
R(ota_2, metal4_pin, [(3.19,35.68,3.47,35.96)])
A(ota_2, metal5, 0.02, -3.19, 0.5, 0.5, 3, 2, 12.24, 53.04)
R(ota_2, metal5, [(-25.29,-3.94,25.29,-1.94), (-25.48,-3.19,-24.98,-2.69), (-13.24,-3.19,-12.74,-2.69), (-25.29,49.1,25.29,51.1), (-25.48,49.85,-24.98,50.35), (-13.24,49.85,-12.74,50.35)])
R(ota_2, lvpwell, [(-9.64,0,-3.78,7.09), (-2.78,0,9.64,11.09), (-6.36,17.09,-0.5,28.18), (0.5,17.09,6.36,28.18)])
ota_2.add(gdstk.Label('INN', (-3.03,18.69), layer=36, texttype=10))
ota_2.add(gdstk.Label('INP', (3.83,18.69), layer=36, texttype=10))
ota_2.add(gdstk.Label('OUT', (3.33,35.82), layer=46, texttype=10))
ota_2.add(gdstk.Label('IBIAS', (-1.77,4.71), layer=42, texttype=10))
ota_2.add(gdstk.Label('VSS', (-6.36,-2.94), layer=42, texttype=10))
ota_2.add(gdstk.Label('VDD', (-6.36,50.1), layer=42, texttype=10))

lib.write_gds('ota_2.gds')
